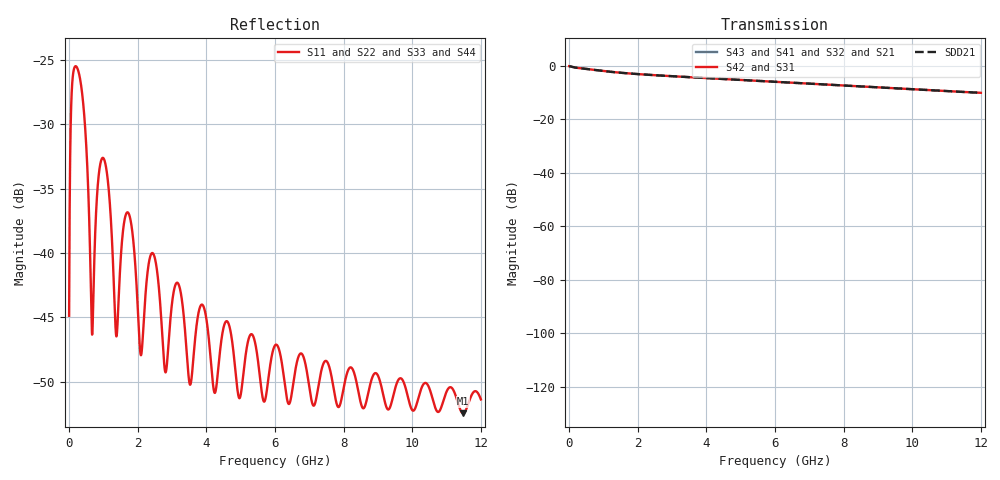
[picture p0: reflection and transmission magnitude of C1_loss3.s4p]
! SYNTHETIC PCB; not extracted/measured; no fixture or crosstalk.
! Port 1=TX+, 2=TX-, 3=RX+, 4=RX-. Differential reference 100 ohm.
# Hz S RI R 50
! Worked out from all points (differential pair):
!   2400 points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, 5 MHz to 12 GHz, reference 50 ohm
!   strongest paths, dB at 5 MHz, 3.005 GHz, 6.005 GHz, 9.005 GHz, 12 GHz:
!     S42: 0.0, -3.8, -5.9, -8.0, -10.0
!     S31: 0.0, -3.8, -5.9, -8.0, -10.0
!     S43: -, -, -, -, -
!     S41: -, -, -, -, -
!     S32: -, -, -, -, -
!     S21: -, -, -, -, -
!   taken as a pair (ports 2,1 in; 4,3 out), SDD21 dB: 0.0, -3.8, -5.9, -8.0, -10.0
!   lowest |S11| = -52.5 dB at 11.48 GHz (marker M1), VSWR 1.00, Z = 49.8 - j0.104 ohm
!   |S11| at or under -10 dB: start of sweep to end of sweep
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5000000  0.00472 0.00321  0 0  0.995 -0.0268  0 0
         0 0  0.00472 0.00321  0 0  0.995 -0.0268
         0.995 -0.0268  0 0  0.00472 0.00321  0 0
         0 0  0.995 -0.0268  0 0  0.00472 0.00321
6.65e8  0.00128 -0.00489  0 0  -0.8556 -0.0438  0 0
        0 0  0.00128 -0.00489  0 0  -0.8556 -0.0438
        -0.8556 -0.0438  0 0  0.00128 -0.00489  0 0
        0 0  -0.8556 -0.0438  0 0  0.00128 -0.00489
1.37e9  0.000352 -0.00482  0 0  0.7621 0.0403  0 0
        0 0  0.000352 -0.00482  0 0  0.7621 0.0403
        0.7621 0.0403  0 0  0.000352 -0.00482  0 0
        0 0  0.7621 0.0403  0 0  0.000352 -0.00482
2.09e9  -0.000132 -0.00402  0 0  -0.7012 -0.0188  0 0
        0 0  -0.000132 -0.00402  0 0  -0.7012 -0.0188
        -0.7012 -0.0188  0 0  -0.000132 -0.00402  0 0
        0 0  -0.7012 -0.0188  0 0  -0.000132 -0.00402
2.8e9  -0.000638 -0.00341  0 0  0.656 0.0353  0 0
       0 0  -0.000638 -0.00341  0 0  0.656 0.0353
       0.656 0.0353  0 0  -0.000638 -0.00341  0 0
       0 0  0.656 0.0353  0 0  -0.000638 -0.00341
1.1485e10  -0.00214 -0.00104  0 0  0.3277 -0.00502  0 0
           0 0  -0.00214 -0.00104  0 0  0.3277 -0.00502
           0.3277 -0.00502  0 0  -0.00214 -0.00104  0 0
           0 0  0.3277 -0.00502  0 0  -0.00214 -0.00104
1.2e10  -0.00257 -0.0008  0 0  -0.1949 -0.2483  0 0
        0 0  -0.00257 -0.0008  0 0  -0.1949 -0.2483
        -0.1949 -0.2483  0 0  -0.00257 -0.0008  0 0
        0 0  -0.1949 -0.2483  0 0  -0.00257 -0.0008
